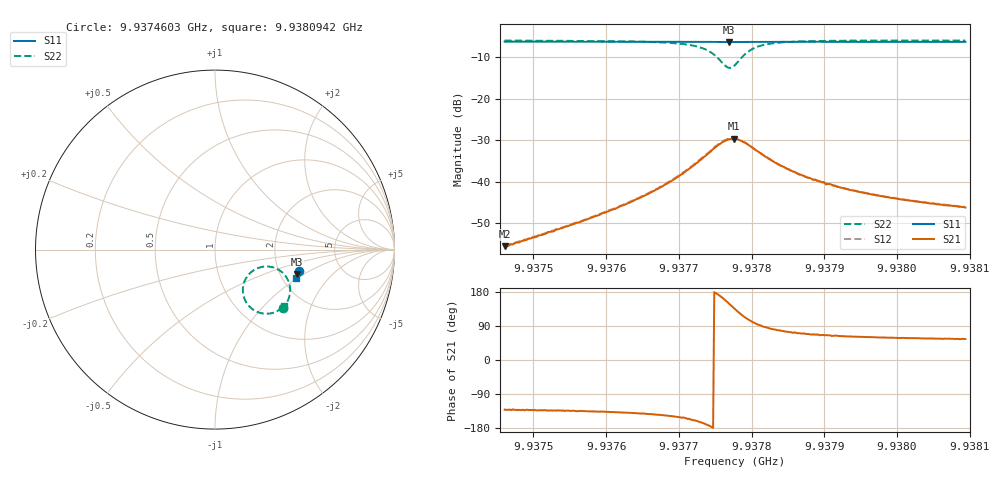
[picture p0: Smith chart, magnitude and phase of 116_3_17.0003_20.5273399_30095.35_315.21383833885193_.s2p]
#  HZ  S  RI  R  50.00
! Rohde & Schwarz Vector Network Analyzer
! Rohde-Schwarz,ZNB20-2Port,1311601062101988,3.16
! Created: UTC 3/20/2024, 10:57:15 PM
! freq[Hz]  re:S11  im:S11  re:S21  im:S21  re:S12  im:S12  re:S22  im:S22
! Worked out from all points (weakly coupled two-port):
!   401 points, 9.9374603 GHz to 9.9380942 GHz, reference 50 ohm
!   highest |S21| = -29.66 dB at 9.9377757 GHz (marker M1); lowest = -55.5 dB at 9.9374603 GHz (marker M2)
!   lowest |S11| = -6.4 dB at 9.9377693 GHz (marker M3), VSWR 2.83, Z = 124 - j43.4 ohm
!   |S11| at or under -10 dB: nowhere
!   |S22| runs from -12.6 to -6.0 dB; largest |S21 - S12| = 0.0017
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9.93746025e9  0.4684 -0.1169  -0.0011 -0.00127  -0.00111 -0.00128  0.3771 -0.3226
9.93751256e9  0.4673 -0.1203  -0.00156 -0.00168  -0.00163 -0.0017  0.3702 -0.3284
9.93756644e9  0.4659 -0.1239  -0.00234 -0.00241  -0.00243 -0.00238  0.3604 -0.3353
9.93762984e9  0.4644 -0.1283  -0.00418 -0.00359  -0.0043 -0.00362  0.3412 -0.3458
9.93767263e9  0.4631 -0.1313  -0.00681 -0.00483  -0.00706 -0.00479  0.3161 -0.3543
9.93770116e9  0.4621 -0.1335  -0.0104 -0.00578  -0.0107 -0.00563  0.2847 -0.3573
9.93773128e9  0.4605 -0.1355  -0.0181 -0.00491  -0.0188 -0.00459  0.2219 -0.3403
9.93774395e9  0.4596 -0.136  -0.023 -0.00186  -0.0239 -0.00134  0.1842 -0.3085
9.93775505e9  0.4585 -0.1364  -0.0276 0.00417  -0.0282 0.00535  0.1579 -0.2523
9.93776456e9  0.458 -0.1358  -0.0287 0.0124  -0.0291 0.0138  0.1617 -0.1842
9.93776931e9  0.4578 -0.1356  -0.0277 0.0171  -0.0274 0.0185  0.1793 -0.1497
9.93777565e9  0.4581 -0.1352  -0.0241 0.0223  -0.0235 0.0239  0.2173 -0.1138
9.93777724e9  0.4583 -0.1353  -0.0229 0.0236  -0.0222 0.0247  0.2287 -0.1074
9.93778516e9  0.4587 -0.135  -0.0161 0.0268  -0.015 0.0277  0.2875 -0.0937
9.93779467e9  0.4593 -0.1357  -0.00865 0.0268  -0.00759 0.0273  0.3456 -0.1076
9.93781211e9  0.46 -0.137  -0.000509 0.0221  0.000251 0.0221  0.4001 -0.158
9.93783905e9  0.46 -0.1395  0.00336 0.0155  0.00379 0.0154  0.4186 -0.2161
9.93785965e9  0.4597 -0.1414  0.00389 0.0125  0.00449 0.0122  0.4179 -0.2426
9.93788343e9  0.459 -0.1431  0.00417 0.0099  0.00435 0.00987  0.4139 -0.2623
9.93793256e9  0.4579 -0.1467  0.00377 0.00714  0.00393 0.00716  0.405 -0.2859
9.93798962e9  0.4565 -0.1503  0.00338 0.00552  0.00347 0.00554  0.3966 -0.3008
9.93809422e9  0.4538 -0.1574  0.00278 0.00403  0.00292 0.00404  0.3852 -0.3165
